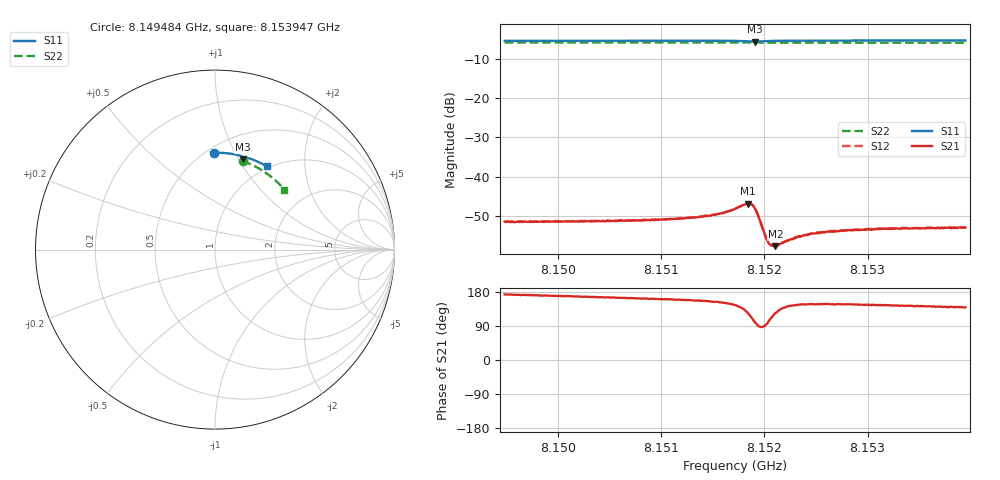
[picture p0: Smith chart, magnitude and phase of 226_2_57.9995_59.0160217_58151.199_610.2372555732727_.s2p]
#  HZ  S  RI  R  50.00
! Rohde & Schwarz Vector Network Analyzer
! Rohde-Schwarz,ZNB20-2Port,1311601062101988,3.16
! Created: UTC 3/21/2024, 1:00:21 AM
! freq[Hz]  re:S11  im:S11  re:S21  im:S21  re:S12  im:S12  re:S22  im:S22
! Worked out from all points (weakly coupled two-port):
!   401 points, 8.149484 GHz to 8.153947 GHz, reference 50 ohm
!   highest |S21| = -46.90 dB at 8.151838 GHz (marker M1); lowest = -57.8 dB at 8.152106 GHz (marker M2)
!   lowest |S11| = -5.6 dB at 8.151905 GHz (marker M3), VSWR 3.23, Z = 37.3 + j52.1 ohm
!   |S11| at or under -10 dB: nowhere
!   |S22| runs from -5.8 to -5.7 dB; largest |S21 - S12| = 0.00012
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8.1494843e9  -0.00585 0.5392  -0.00262 0.000321  -0.00261 0.00036  0.1537 0.4924
8.1502318e9  0.0466 0.5384  -0.00261 0.000609  -0.00264 0.000639  0.199 0.475
8.1509793e9  0.0987 0.5324  -0.00266 0.000924  -0.00266 0.000982  0.2424 0.4535
8.1512359e9  0.1168 0.5289  -0.00275 0.00108  -0.00271 0.00114  0.2567 0.4451
8.1514702e9  0.1337 0.5252  -0.00287 0.00134  -0.00286 0.00142  0.2694 0.4372
8.1516041e9  0.1439 0.5219  -0.003 0.00167  -0.00302 0.00172  0.2768 0.4325
8.1517157e9  0.1526 0.5177  -0.00317 0.00224  -0.00315 0.00227  0.2827 0.4282
8.1518384e9  0.1594 0.5078  -0.00257 0.00372  -0.0025 0.00377  0.289 0.4235
8.1518719e9  0.1582 0.5048  -0.00178 0.00406  -0.00172 0.00413  0.2905 0.4222
8.1519053e9  0.1555 0.5041  -0.000733 0.0039  -0.000719 0.00396  0.2921 0.421
8.1519388e9  0.1537 0.5062  -4.52e-05 0.0032  2.79e-05 0.00323  0.2938 0.4199
8.1520058e9  0.1568 0.5115  -2.85e-05 0.0018  -2.59e-05 0.00183  0.2971 0.4177
8.1520281e9  0.1587 0.5127  -0.000178 0.00153  -0.000156 0.00153  0.2982 0.4169
8.1520615e9  0.1619 0.5135  -0.000459 0.00125  -0.000418 0.00128  0.3001 0.4157
8.1520839e9  0.164 0.5137  -0.000595 0.00116  -0.000577 0.00117  0.3013 0.4149
8.1521062e9  0.1661 0.5138  -0.000717 0.00107  -0.000721 0.00108  0.3025 0.414
8.152307e9  0.1821 0.511  -0.00135 0.000951  -0.00136 0.000974  0.3127 0.4061
8.1524632e9  0.1935 0.5077  -0.00158 0.000997  -0.00156 0.00103  0.3205 0.3996
8.1526752e9  0.208 0.5025  -0.00164 0.00109  -0.00167 0.00114  0.3308 0.3909
8.1528202e9  0.2176 0.4988  -0.00174 0.00113  -0.00174 0.00115  0.3375 0.3846
8.1532107e9  0.2428 0.4878  -0.00174 0.00124  -0.00176 0.00126  0.3557 0.3674
8.1539471e9  0.288 0.4639  -0.00169 0.00145  -0.00167 0.00149  0.3869 0.3326
